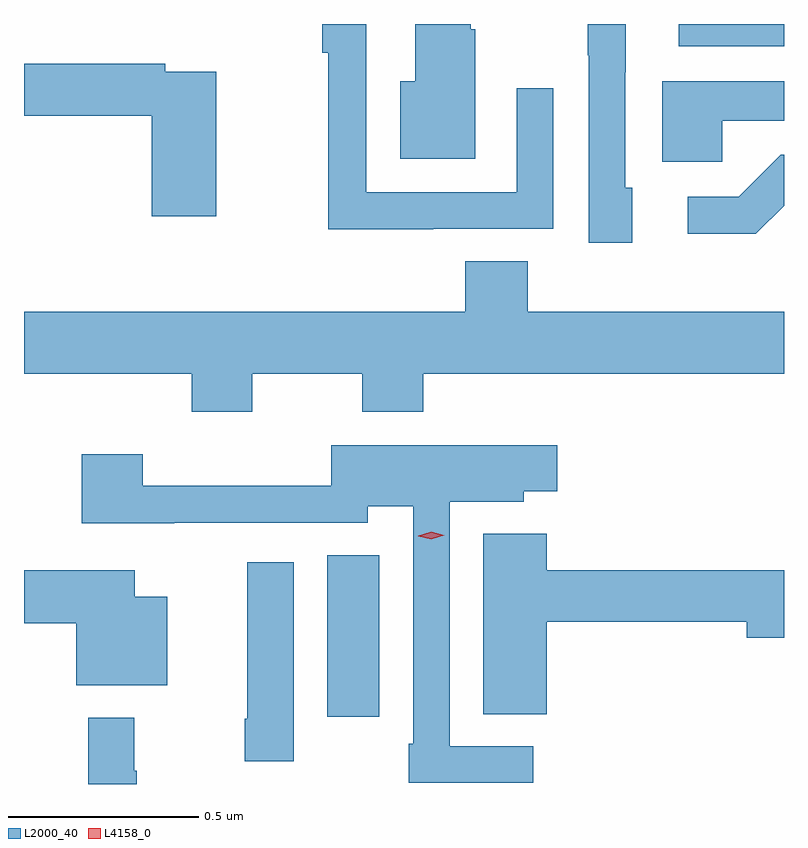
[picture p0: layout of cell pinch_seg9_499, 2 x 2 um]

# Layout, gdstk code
import gdstk
lib = gdstk.Library(unit=1e-6, precision=1e-09)
def R(c, l, rs):  # rectangles x0, y0, x1, y1
    for r in rs: c.add(gdstk.rectangle(r[:2], r[2:], *l))
def P(c, l, *ps):  # polygons
    for p in ps: c.add(gdstk.Polygon(p, *l))
L2000_40 = (2000, 40)
L4158_0 = (4158, 0)

pinch_seg9_499 = lib.new_cell('pinch_seg9_499')
R(pinch_seg9_499, L2000_40, [(335.846,1191.522,335.983,1191.947), (336.771,1193.286,337.048,1193.345)])
P(pinch_seg9_499, L2000_40, [(336.649,1192.914),(336.63,1192.914),(336.63,1193.218),(336.631,1193.218),(336.631,1193.345),(336.532,1193.345),(336.532,1193.263),(336.534,1193.263),(336.534,1192.77),(336.649,1192.77)],
  [(336.125,1192.806),(336.441,1192.806),(336.441,1193.176),(336.345,1193.176),(336.345,1192.902),(335.949,1192.902),(335.949,1193.345),(335.833,1193.345),(335.833,1193.27),(335.848,1193.27),(335.848,1192.805),(336.125,1192.805)],
  [(336.235,1193.331),(336.224,1193.331),(336.224,1193.345),(336.077,1193.345),(336.077,1193.194),(336.038,1193.194),(336.038,1192.991),(336.235,1192.991)],
  [(335.554,1193.22),(335.42,1193.22),(335.42,1193.24),(335.048,1193.24),(335.048,1193.104),(335.384,1193.104),(335.384,1192.839),(335.554,1192.839)],
  [(336.885,1193.09),(337.048,1193.09),(337.048,1193.194),(336.728,1193.194),(336.728,1192.982),(336.885,1192.982)],
  [(337.048,1192.867),(337.048,1193.001),(337.04,1193.001),(336.929,1192.89),(336.795,1192.89),(336.795,1192.793),(336.973,1192.793)],
  [(335.649,1192.424),(335.938,1192.424),(335.938,1192.325),(336.098,1192.325),(336.098,1192.424),(337.048,1192.424),(337.048,1192.588),(336.374,1192.588),(336.374,1192.721),(336.209,1192.721),(336.209,1192.588),(335.048,1192.588),(335.048,1192.424),(335.489,1192.424),(335.489,1192.325),(335.649,1192.325)],
  [(336.388,1191.444),(336.168,1191.444),(336.168,1192.088),(336.363,1192.088),(336.363,1192.115),(336.451,1192.115),(336.451,1192.237),(335.856,1192.237),(335.856,1192.13),(335.36,1192.13),(335.36,1192.213),(335.2,1192.213),(335.2,1192.031),(335.443,1192.031),(335.443,1192.032),(335.952,1192.032),(335.952,1192.076),(336.072,1192.076),(336.072,1191.451),(336.06,1191.451),(336.06,1191.348),(336.388,1191.348)],
  [(336.424,1191.772),(336.95,1191.772),(336.95,1191.73),(337.048,1191.73),(337.048,1191.908),(336.424,1191.908),(336.424,1192.003),(336.257,1192.003),(336.257,1191.529),(336.424,1191.529)],
  [(335.758,1191.928),(335.636,1191.928),(335.636,1191.517),(335.629,1191.517),(335.629,1191.405),(335.758,1191.405)],
  [(335.425,1191.838),(335.34,1191.838),(335.34,1191.908),(335.048,1191.908),(335.048,1191.768),(335.186,1191.768),(335.186,1191.605),(335.425,1191.605)],
  [(335.345,1191.38),(335.338,1191.38),(335.338,1191.52),(335.217,1191.52),(335.217,1191.345),(335.345,1191.345)])
P(pinch_seg9_499, L4158_0, [(336.12,1191.989),(336.085,1191.997),(336.085,1191.997),(336.085,1191.998),(336.12,1192.009),(336.154,1192),(336.154,1192),(336.154,1192)])

lib.write_gds('pinch_seg9_499.gds')
